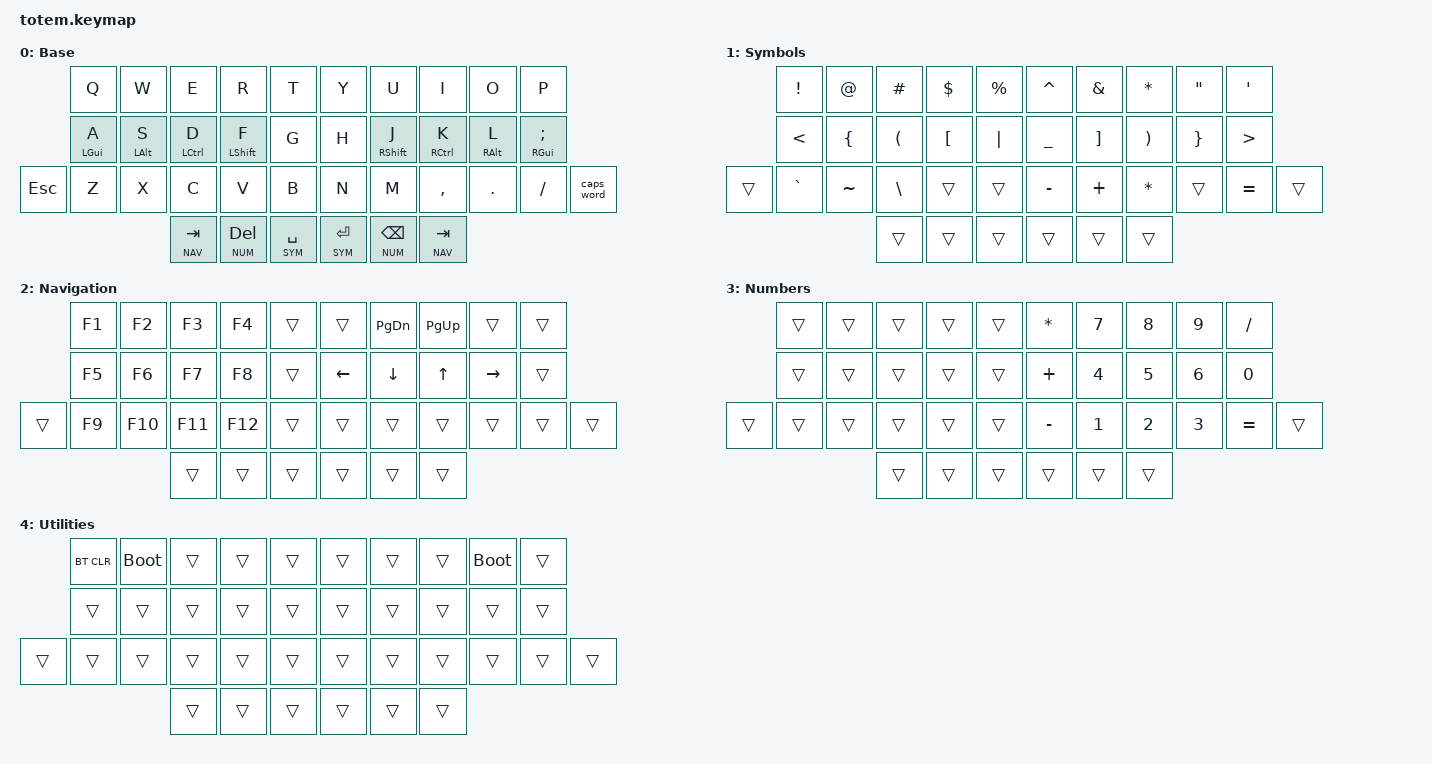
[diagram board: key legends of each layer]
//
//                                                        ▀▀▀▀▀     ▀▀▀▀▀          ▀▀█▀▀
//                                                        ▄▀▀▀▄  ▄  ▄▀▀▀▄  ▄  ▄▀▀▀▄  █  ▄▀▀▀▄
//                                                        █   █  █  █   █  █  █   █  █  █   █
//                                                         ▀▀▀   █   ▀▀▀   █   ▀▀▀   ▀   ▀▀▀
//                                                               █      ▄▄▄█▄▄▄    █   █  
//                                                               ▀      █  █  █     █▄█
//                                                             ▀▀▀▀▀    █  █  █      ▀
//                                                                      ▀  ▀  ▀
//
// ▄▄▄▄▄▄▄▄▄▄▄▄▄▄▄▄▄▄▄▄▄▄▄▄▄▄▄▄▄▄▄▄▄▄▄▄▄▄▄▄▄▄▄▄▄▄▄▄▄▄▄▄▄▄▄▄▄▄▄▄▄▄▄▄▄▄▄▄▄▄▄▄▄▄▄▄▄▄▄▄▄▄▄▄▄▄▄▄▄▄▄▄▄▄▄▄▄▄▄▄▄▄▄▄▄▄▄▄▄▄▄▄▄▄▄▄▄▄▄▄▄▄▄▄▄▄▄▄▄▄▄▄▄▄▄▄▄▄▄▄▄▄▄▄▄▄▄▄▄

#include <behaviors.dtsi>
#include <dt-bindings/zmk/keys.h>
#include <dt-bindings/zmk/bt.h>
#include <dt-bindings/zmk/outputs.h>
#include <dt-bindings/zmk/ext_power.h>

#define BASE        0
#define SYM         1
#define NAV         2  
#define NUM         3
#define UTIL        4 

#define KEYS_L      0 1 2 3 4 10 11 12 13 14 20 21 22 23 24 25
#define KEYS_R      5 6 7 8 9 15 16 17 18 19 26 27 28 29 30 31
#define THUMBS      32 33 34 35 36 37

&lt {
  flavor = "balanced";
  tapping-term-ms = <160>;
  quick-tap-ms = <175>;
  require-prior-idle-ms = <125>;
};

/ {
  behaviors {
        hm_l: homerow_mods_left {
            compatible = "zmk,behavior-hold-tap";
            #binding-cells = <2>;
            flavor = "balanced";
            tapping-term-ms = <280>;
            quick-tap-ms = <175>;
            require-prior-idle-ms = <130>;
            hold-trigger-key-positions = <KEYS_R THUMBS>;
            hold-trigger-on-release;
            bindings =
                <&kp>,
                <&kp>;
        };

        hm_r: homerow_mods_right {
            compatible = "zmk,behavior-hold-tap";
            #binding-cells = <2>;
            flavor = "balanced";
            tapping-term-ms = <280>;
            quick-tap-ms = <175>;
            require-prior-idle-ms = <130>;
            hold-trigger-key-positions = <KEYS_L THUMBS>;
            hold-trigger-on-release;
            bindings =
                <&kp>,
                <&kp>;
        };
    };

    keymap {
        compatible = "zmk,keymap";

        base_layer {
            label = "Base";
            bindings = <
                        &kp Q            &kp W           &kp E             &kp R               &kp T                          &kp Y        &kp U               &kp I             &kp O           &kp P
                        &hm_l LGUI A     &hm_l LALT S    &hm_l LCTRL D     &hm_l LSHIFT F      &kp G                          &kp H        &hm_r RSHIFT J      &hm_r RCTRL K     &hm_r RALT L    &hm_r RGUI SEMICOLON
            &kp ESC     &kp Z            &kp X           &kp C             &kp V               &kp B                          &kp N        &kp M               &kp COMMA         &kp DOT         &kp SLASH                &caps_word
                                                         &lt NAV TAB       &lt NUM DEL         &lt SYM SPACE                  &lt SYM RET  &lt NUM BSPC        &lt NAV TAB
            >;
        };

        symbol_layer {
            label = "Symbols";
            bindings = <
                        &kp EXCL          &kp AT             &kp HASH             &kp DOLLAR             &kp PERCENT                    &kp CARET    &kp AMPERSAND          &kp ASTERISK         &kp DQT            &kp APOSTROPHE
                        &kp LT            &kp LBRC           &kp LPAR             &kp LBKT               &kp PIPE                       &kp UNDER    &kp RBKT               &kp RPAR             &kp RBRC           &kp GT
            &trans      &kp GRAVE         &kp TILDE          &kp BACKSLASH        &trans                 &trans                         &kp MINUS    &kp PLUS               &kp ASTERISK         &trans             &kp EQUAL         &trans
                                                             &trans               &trans                 &trans                         &trans       &trans                 &trans
            >;
        };

        nav_layer {
            label = "Navigation";
            bindings = <
                        &kp F1            &kp F2           &kp F3             &kp F4               &trans                         &trans       &kp PG_DN              &kp PG_UP          &trans              &trans
                        &kp F5            &kp F6           &kp F7             &kp F8               &trans                         &kp LEFT     &kp DOWN               &kp UP             &kp RIGHT           &trans
            &trans      &kp F9            &kp F10          &kp F11            &kp F12              &trans                         &trans       &trans                 &trans             &trans              &trans    &trans
                                                           &trans             &trans               &trans                         &trans       &trans                 &trans
            >;
        };

        num_layer {
            label = "Numbers";
            bindings = <
                        &trans       &trans      &trans        &trans        &trans                         &kp ASTERISK &kp N7         &kp N8       &kp N9      &kp SLASH 
                        &trans       &trans      &trans        &trans        &trans                         &kp PLUS     &kp N4         &kp N5       &kp N6      &kp N0
            &trans      &trans       &trans      &trans        &trans        &trans                         &kp MINUS    &kp N1         &kp N2       &kp N3      &kp EQUAL    &trans
                                                 &trans        &trans        &trans                         &trans       &trans         &trans
            >;
        };

        util_layer {
            label = "Utilities";
            bindings = <
                        &bt BT_CLR   &bootloader &trans        &trans        &trans                         &trans       &trans         &trans       &bootloader &trans
                        &trans       &trans      &trans        &trans        &trans                         &trans       &trans         &trans       &trans      &trans
            &trans      &trans       &trans      &trans        &trans        &trans                         &trans       &trans         &trans       &trans      &trans      &trans
                                                 &trans        &trans        &trans                         &trans       &trans         &trans
            >;
        };
    };
};
